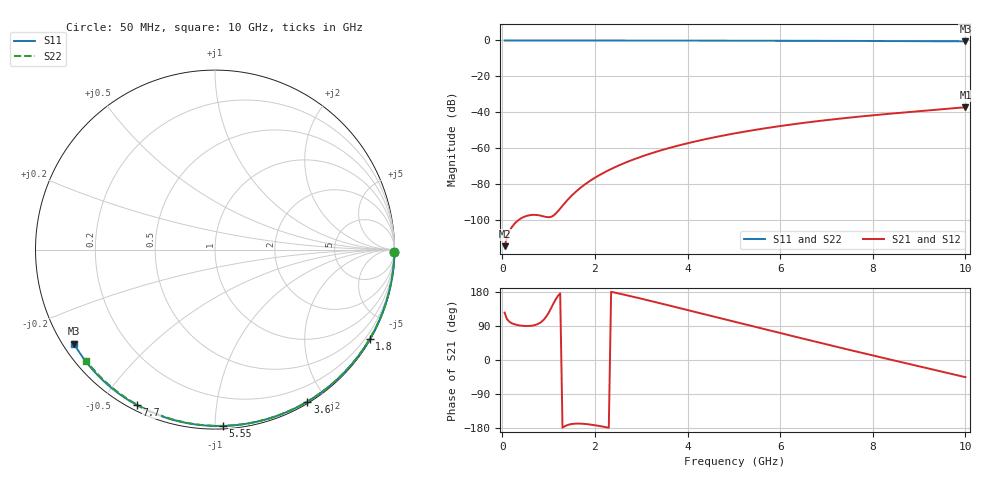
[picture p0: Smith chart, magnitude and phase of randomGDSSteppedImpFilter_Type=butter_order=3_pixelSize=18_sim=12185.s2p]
! freq	dB(S11)	phase(S11)	dB(S12)	phase(S12)
!  dB(S21)	phase(S21)	dB(S22)	phase(S22)
!S-par simulation data
#  GHz  S  DB  R 50
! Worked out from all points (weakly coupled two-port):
!   200 points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, 50 MHz to 10 GHz, reference 50 ohm
!   highest |S21| = -37.30 dB at 10 GHz (marker M1); lowest = -114.9 dB at 50 MHz (marker M2)
!   lowest |S11| = -0.5 dB at 10 GHz (marker M3), VSWR 35.12, Z = 1.55 - j15.2 ohm
!   |S11| at or under -10 dB: nowhere
!   |S22| runs from -0.5 to 0.0 dB; largest |S21 - S12| = 0
!   S11 on the Smith chart (normalised r, x): 50 MHz: open; 1.8 GHz: 0.03, -3.72; 3.6 GHz: 0.02, -1.78; 5.55 GHz: 0.02, -1.05; 7.7 GHz: 0.02, -0.62; 10 GHz: 0.03, -0.30
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0.05  -0.00 -0.9  -114.86 125.1  -114.86 125.1  -0.00 -0.8
0.45  -0.01 -7.6  -98.72 90.1  -98.72 90.1  -0.01 -7.2
0.9  -0.02 -15.2  -98.28 106.9  -98.28 106.9  -0.02 -14.4
1.3  -0.03 -21.9  -92.28 -178.6  -92.28 -178.6  -0.03 -20.7
1.75  -0.04 -29.3  -81.03 -168.3  -81.03 -168.3  -0.04 -27.8
1.8  -0.04 -30.1  -80.07 -168.8  -80.07 -168.8  -0.04 -28.5
2  -0.04 -33.4  -76.66 -172.1  -76.66 -172.1  -0.04 -31.6
2.15  -0.05 -35.8  -74.43 -175.2  -74.43 -175.2  -0.04 -34.0
2.5  -0.05 -41.5  -69.97 176.0  -69.97 176.0  -0.05 -39.3
2.9  -0.06 -47.8  -65.81 164.7  -65.81 164.7  -0.06 -45.4
3.4  -0.07 -55.6  -61.56 150.0  -61.56 150.0  -0.07 -52.8
3.6  -0.08 -58.7  -60.07 144.0  -60.07 144.0  -0.08 -55.7
3.9  -0.09 -63.3  -58.03 134.9  -58.03 134.9  -0.08 -60.1
4.3  -0.10 -69.3  -55.61 122.7  -55.61 122.7  -0.09 -65.8
5.05  -0.12 -80.3  -51.74 99.9  -51.74 99.9  -0.12 -76.3
5.55  -0.14 -87.4  -49.55 84.8  -49.55 84.8  -0.14 -83.1
6.1  -0.17 -95.1  -47.42 68.2  -47.42 68.2  -0.16 -90.5
6.7  -0.20 -103.3  -45.39 50.2  -45.39 50.2  -0.19 -98.3
7.7  -0.27 -116.6  -42.55 20.7  -42.55 20.7  -0.26 -111.0
8.35  -0.32 -125.0  -40.96 2.0  -40.96 2.0  -0.31 -119.0
9.2  -0.40 -135.9  -39.06 -22.2  -39.06 -22.2  -0.38 -129.4
10  -0.49 -146.2  -37.30 -45.3  -37.30 -45.3  -0.47 -139.1
